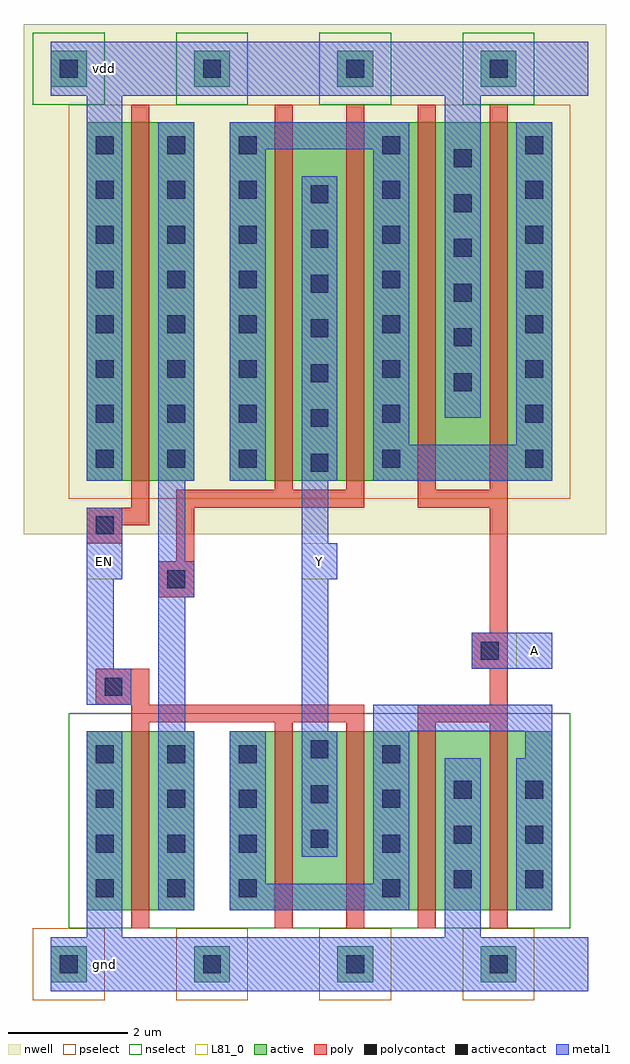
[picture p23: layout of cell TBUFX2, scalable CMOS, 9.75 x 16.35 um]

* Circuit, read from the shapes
.subckt TBUFX2 A EN Y gnd vdd
M1 n1 EN gnd gnd nfet w=3u l=0.3u
M2 Y EN n2 gnd nfet w=3u l=0.3u m=2
M3 gnd A n2 gnd nfet w=3u l=0.3u m=2
M4 n1 EN vdd vdd pfet w=6u l=0.3u
M5 Y n1 n3 vdd pfet w=6u l=0.3u m=2
M6 vdd A n3 vdd pfet w=6u l=0.3u m=2
.ends

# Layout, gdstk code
import gdstk
lib = gdstk.Library(unit=1e-6, precision=1e-09)
def R(c, l, rs):  # rectangles x0, y0, x1, y1
    for r in rs: c.add(gdstk.rectangle(r[:2], r[2:], *l))
def A(c, l, x, y, w, h, nx, ny, dx, dy):  # array of equal rectangles
    R(c, l, [(x+i*dx, y+j*dy, x+i*dx+w, y+j*dy+h) for i in range(nx) for j in range(ny)])
nwell = (42, 0)
active = (43, 0)
pselect = (44, 0)
nselect = (45, 0)
poly = (46, 0)
polycontact = (47, 0)
activecontact = (48, 0)
metal1 = (49, 0)
L81_0 = (81, 0)

tbufx2 = lib.new_cell('TBUFX2')
R(tbufx2, nwell, [(-0.75,7.2,9,15.75)])
A(tbufx2, active, -0.3, -0.3, 0.6, 0.6, 4, 2, 2.4, 15)
R(tbufx2, active, [(0.3,0.9,2.1,3.9), (2.7,0.9,8.1,3.9), (0.3,8.1,2.1,14.1), (2.7,8.1,8.1,14.1)])
A(tbufx2, pselect, -0.6, -0.6, 1.2, 1.2, 4, 1, 2.4, 0)
R(tbufx2, pselect, [(0,7.8,8.4,14.4)])
A(tbufx2, nselect, -0.6, 14.4, 1.2, 1.2, 4, 1, 2.4, 0)
R(tbufx2, nselect, [(0,0.6,8.4,4.2)])
A(tbufx2, poly, 3.45, 0.6, 0.3, 3.45, 4, 1, 1.2, 0)
A(tbufx2, poly, 3.45, 7.95, 0.3, 6.45, 4, 1, 1.2, 0)
R(tbufx2, poly, [(1.05,0.6,1.35,4.05), (1.05,4.05,4.95,4.35), (5.85,4.05,7.35,4.35), (0.45,4.35,1.35,4.95), (7.05,4.35,7.35,4.95), (6.75,4.95,7.35,5.55), (7.05,5.55,7.35,7.65), (1.5,6.15,2.1,6.75), (1.8,6.75,2.1,7.65), (0.3,7.05,0.9,7.35), (0.3,7.35,1.35,7.65), (1.05,7.65,1.35,14.4), (1.8,7.65,4.95,7.95), (5.85,7.65,7.35,7.95)])
R(tbufx2, polycontact, [(0.6,4.5,0.9,4.8), (6.9,5.1,7.2,5.4), (1.65,6.3,1.95,6.6), (0.45,7.2,0.75,7.5)])
A(tbufx2, activecontact, -0.15, -0.15, 0.3, 0.3, 4, 2, 2.4, 15)
A(tbufx2, activecontact, 0.45, 1.12, 0.3, 0.3, 3, 4, 1.2, 0.75)
A(tbufx2, activecontact, 5.25, 1.12, 0.3, 0.3, 1, 4, 0, 0.75)
A(tbufx2, activecontact, 6.45, 1.27, 0.3, 0.3, 1, 3, 0, 0.75)
A(tbufx2, activecontact, 7.65, 1.27, 0.3, 0.3, 1, 3, 0, 0.75)
A(tbufx2, activecontact, 4.05, 1.95, 0.3, 0.3, 1, 3, 0, 0.75)
A(tbufx2, activecontact, 4.05, 8.25, 0.3, 0.3, 1, 7, 0, 0.75)
A(tbufx2, activecontact, 0.45, 8.32, 0.3, 0.3, 3, 8, 1.2, 0.75)
A(tbufx2, activecontact, 5.25, 8.32, 0.3, 0.3, 1, 8, 0, 0.75)
A(tbufx2, activecontact, 7.65, 8.32, 0.3, 0.3, 1, 8, 0, 0.75)
A(tbufx2, activecontact, 6.45, 9.6, 0.3, 0.3, 1, 6, 0, 0.75)
R(tbufx2, metal1, [(-0.3,-0.45,8.7,0.45), (0.3,0.45,0.9,3.9), (6.3,0.45,6.9,3.45), (1.5,0.9,2.1,3.9), (2.7,0.9,5.7,1.35), (7.5,0.9,8.1,3.45), (2.7,1.35,3.3,3.9), (5.1,1.35,5.7,3.9), (3.9,1.8,4.5,3.9), (7.65,3.45,8.1,3.9), (1.5,3.9,1.95,6.15), (3.9,3.9,4.35,6.45), (5.1,3.9,8.1,4.35), (0.3,4.35,1.05,4.95), (0.3,4.95,0.75,6.45), (6.75,4.95,8.1,5.55), (1.5,6.15,2.1,6.75), (0.3,6.45,0.9,7.65), (3.9,6.45,4.5,7.05), (1.5,6.75,1.95,8.1), (3.9,7.05,4.35,8.1), (0.3,8.1,0.9,14.55), (1.5,8.1,2.1,14.1), (2.7,8.1,3.3,13.65), (3.9,8.1,4.5,13.2), (5.1,8.1,8.1,8.7), (5.1,8.7,5.7,13.65), (7.5,8.7,8.1,14.1), (6.3,9.15,6.9,14.55), (2.7,13.65,5.7,14.1), (-0.3,14.55,8.7,15.45)])
R(tbufx2, L81_0, [(7.5,4.95,8.1,5.55), (0.3,6.45,0.9,7.05), (3.9,6.45,4.5,7.05)])
tbufx2.add(gdstk.Label('vdd', (0.6,15), layer=109, texttype=0))
tbufx2.add(gdstk.Label('gnd', (0.6,0), layer=109, texttype=0))
tbufx2.add(gdstk.Label('A', (7.8,5.25), layer=109, texttype=0))
tbufx2.add(gdstk.Label('EN', (0.6,6.75), layer=109, texttype=0))
tbufx2.add(gdstk.Label('Y', (4.2,6.75), layer=109, texttype=0))

lib.write_gds('TBUFX2.gds')
